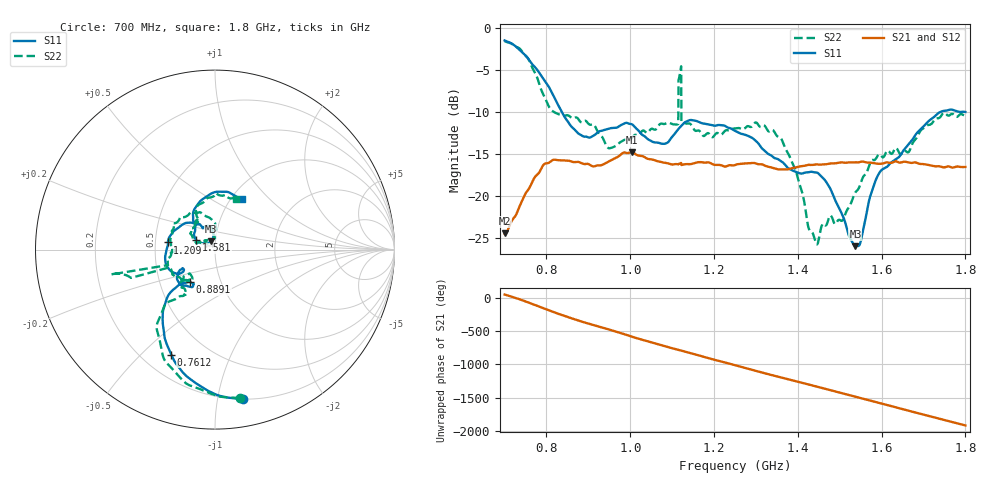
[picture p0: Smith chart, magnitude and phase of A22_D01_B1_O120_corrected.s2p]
! Created with skrf 1.9.0 (http://scikit-rf.org).
# Hz S RI R 50.0
!freq ReS11 ImS11 ReS21 ImS21 ReS12 ImS12 ReS22 ImS22
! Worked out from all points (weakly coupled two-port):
!   1601 points, 700 MHz to 1.8 GHz, reference 50 ohm
!   highest |S21| = -14.73 dB at 1.003 GHz (marker M1); lowest = -24.4 dB at 700.7 MHz (marker M2)
!   lowest |S11| = -25.9 dB at 1.537 GHz (marker M3), VSWR 1.11, Z = 47.6 + j4.32 ohm
!   |S11| at or under -10 dB: 837.3 MHz to 1.738 GHz (900.8 MHz wide, 70 % of centre)
!   |S22| runs from -25.7 to -1.5 dB; largest |S21 - S12| = 0.0035
!   S11 on the Smith chart (normalised r, x): 700 MHz: 0.20, -1.19; 761.2 MHz: 0.32, -0.62; 889.1 MHz: 0.71, -0.27; 1.209 GHz: 0.58, +0.05; 1.581 GHz: 0.81, +0.08; 1.8 GHz: 1.12, +0.70
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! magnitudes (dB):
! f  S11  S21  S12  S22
! 700 MHz  -1.4  -24.4  -24.2  -1.5
! 700.7 MHz  -1.4  -24.4  -24.1  -1.5
! 761.2 MHz  -4.0  -18.8  -18.7  -4.1
! 811.4 MHz  -7.5  -15.8  -15.7  -9.7
! 883.6 MHz  -12.7  -16.0  -15.9  -11.2
! 889.1 MHz  -12.9  -16.1  -16.1  -11.0
! 949.6 MHz  -11.9  -15.8  -15.8  -14.3
! 1.003 GHz  -11.4  -14.7  -14.9  -13.1
! 1.067 GHz  -13.6  -15.8  -15.8  -11.6
! 1.109 GHz  -12.3  -16.1  -16.2  -11.4
! 1.121 GHz  -11.7  -16.0  -15.9  -4.7
! 1.128 GHz  -11.3  -16.2  -16.2  -11.2
! 1.209 GHz  -11.5  -16.2  -16.3  -12.5
! 1.25 GHz  -12.2  -16.3  -16.2  -11.9
! 1.36 GHz  -15.8  -16.8  -16.8  -13.1
! 1.434 GHz  -17.1  -16.3  -16.2  -24.2
! 1.506 GHz  -22.2  -16.0  -16.0  -22.9
! 1.537 GHz  -25.9  -15.9  -15.9  -19.5
! 1.581 GHz  -18.7  -16.0  -16.1  -15.7
! 1.617 GHz  -16.3  -16.0  -15.9  -14.6
! 1.737 GHz  -10.0  -16.4  -16.5  -10.7
! 1.8 GHz  -9.9  -16.5  -16.5  -10.4
